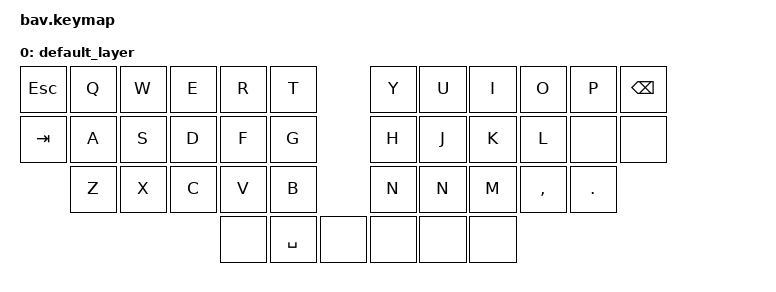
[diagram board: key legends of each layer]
#include <behaviors.dtsi>
#include <dt-bindings/zmk/keys.h>

/ {
    keymap {
        compatible = "zmk,keymap";

        default_layer {
// --------------------------------------------------------------------------------------------------------------------------------------------------------------------
// |   ESC   |    Q    |    W    |    E    |    R    |    T    |                   |    Y    |    U    |    I    |    O    |    P    |BACKSPACE|
// |   TAB   |    A    |    S    |    D    |    F    |    G    |                   |    H    |    J    |    K    |    L    |    Ø    |    Æ    |
//           |    Z    |    X    |    C    |    V    |    B    |                   |    N    |    M    |    ,    |    .    |    -    |         
//                                         |   SOME  |  SPACE  |  SOME   |   SOME  |  SOME   |   SOME  |
            bindings = <
                &kp ESC   &kp Q     &kp W     &kp E     &kp R     &kp T               &kp Y     &kp U     &kp I     &kp O     &kp P     &kp BSPC
                &kp TAB   &kp A     &kp S     &kp D     &kp F     &kp G               &kp H     &kp J     &kp K     &kp L     &none     &none
                          &kp Z     &kp X     &kp C     &kp V     &kp B               &kp N     &kp N     &kp M     &kp COMMA &kp PERIOD
                                                        &none     &kp SPACE &none     &none     &none     &none
                
            >;

        };
    };
};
